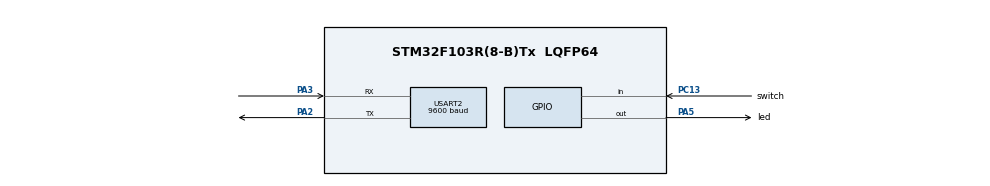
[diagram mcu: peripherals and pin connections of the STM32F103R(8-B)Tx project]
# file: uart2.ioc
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Mcu.Family=STM32F1
Mcu.Name=STM32F103R(8-B)Tx
Mcu.Package=LQFP64
NVIC.PriorityGroup=NVIC_PRIORITYGROUP_4
NVIC.USART2_IRQn=true\:0\:0\:false\:false\:true\:true
PA2.Mode=Asynchronous
PA2.Signal=USART2_TX
PA3.Mode=Asynchronous
PA3.Signal=USART2_RX
PA5.GPIO_Label=led
PA5.Signal=GPIO_Output
PC13-TAMPER-RTC.GPIO_Label=switch
PC13-TAMPER-RTC.Signal=GPIO_Input
ProjectManager.HeapSize=0x200
ProjectManager.StackSize=0x400
ProjectManager.TargetToolchain=MDK-ARM V5
RCC.APB1Freq_Value=8000000
RCC.APB2Freq_Value=8000000
USART2.BaudRate=9600
USART2.VirtualMode=VM_ASYNC
VP_SYS_VS_ND.Mode=No_Debug
board=uart2

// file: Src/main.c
#include "main.h"
#include "stm32f1xx_hal.h"

UART_HandleTypeDef huart2;

/* USER CODE BEGIN PV */
/* Private variables ---------------------------------------------------------*/

/* USER CODE END PV */

void SystemClock_Config(void);
static void MX_GPIO_Init(void);
static void MX_USART2_UART_Init(void);

/* USER CODE BEGIN PFP */
/* Private function prototypes -----------------------------------------------*/

/* USER CODE END PFP */

/* USER CODE BEGIN 0 */
int fputc(int ch, FILE *f)
{
	uint8_t temp[1] = {ch} ;

	HAL_UART_Transmit(&huart2, temp, 1, 50) ;

	return(ch) ;
}
/* USER CODE END 0 */

int main(void)
{

  /* MCU Configuration----------------------------------------------------------*/

  /* Reset of all peripherals, Initializes the Flash interface and the Systick. */
  HAL_Init();

  /* Configure the system clock */
  SystemClock_Config();

  /* Initialize all configured peripherals */
  MX_GPIO_Init();
  MX_USART2_UART_Init();
  /* USER CODE BEGIN 2 */
	HAL_StatusTypeDef RcvStat ;
	uint8_t bufftx[10] = "Hello!\n" ;
	uint8_t sign[10] = "succed\n" ;
	uint8_t UsartData[10] ;
	uint8_t pin_state ;
	HAL_UART_Transmit(&huart2, bufftx, 10, 100) ;
  /* USER CODE END 2 */

  /* Infinite loop */
  /* USER CODE BEGIN WHILE */
  while (1)
  {
	RcvStat = HAL_UART_Receive(&huart2, UsartData, 1, 100) ;

	if (RcvStat == HAL_OK)
		{
		if (UsartData[0] == 'a')
			{  // if serial input is 'a', led on
			HAL_GPIO_WritePin(led_GPIO_Port, led_Pin, GPIO_PIN_SET) ;
			}
		else if (UsartData[0] == 'b')
			{  // if serial input is 'a', led off
			HAL_GPIO_WritePin(led_GPIO_Port, led_Pin, GPIO_PIN_RESET) ;
			}

		HAL_UART_Transmit(&huart2, UsartData, 1, 100) ;
		}

	printf("TT\n") ;
	HAL_Delay(3000) ;

	pin_state = HAL_GPIO_ReadPin(switch_GPIO_Port, switch_Pin) ;

	if (!pin_state)
		{  // if b1 is low, send b_in
		HAL_UART_Transmit(&huart2, sign, 10, 100) ;
		}
  /* USER CODE END WHILE */

  }

}

void SystemClock_Config(void)
{

  RCC_OscInitTypeDef RCC_OscInitStruct;
  RCC_ClkInitTypeDef RCC_ClkInitStruct;

    /**Initializes the CPU, AHB and APB busses clocks
    */
  RCC_OscInitStruct.OscillatorType = RCC_OSCILLATORTYPE_HSI;
  RCC_OscInitStruct.HSIState = RCC_HSI_ON;
  RCC_OscInitStruct.HSICalibrationValue = 16;
  RCC_OscInitStruct.PLL.PLLState = RCC_PLL_NONE;
  if (HAL_RCC_OscConfig(&RCC_OscInitStruct) != HAL_OK)
  {
    _Error_Handler(__FILE__, __LINE__);
  }

    /**Initializes the CPU, AHB and APB busses clocks
    */
  RCC_ClkInitStruct.ClockType = RCC_CLOCKTYPE_HCLK|RCC_CLOCKTYPE_SYSCLK
                              |RCC_CLOCKTYPE_PCLK1|RCC_CLOCKTYPE_PCLK2;
  RCC_ClkInitStruct.SYSCLKSource = RCC_SYSCLKSOURCE_HSI;
  RCC_ClkInitStruct.AHBCLKDivider = RCC_SYSCLK_DIV1;
  RCC_ClkInitStruct.APB1CLKDivider = RCC_HCLK_DIV1;
  RCC_ClkInitStruct.APB2CLKDivider = RCC_HCLK_DIV1;

  if (HAL_RCC_ClockConfig(&RCC_ClkInitStruct, FLASH_LATENCY_0) != HAL_OK)
  {
    _Error_Handler(__FILE__, __LINE__);
  }

    /**Configure the Systick interrupt time
    */
  HAL_SYSTICK_Config(HAL_RCC_GetHCLKFreq()/1000);

    /**Configure the Systick
    */
  HAL_SYSTICK_CLKSourceConfig(SYSTICK_CLKSOURCE_HCLK);

  /* SysTick_IRQn interrupt configuration */
  HAL_NVIC_SetPriority(SysTick_IRQn, 0, 0);
}

/* USART2 init function */
static void MX_USART2_UART_Init(void)
{

  huart2.Instance = USART2;
  huart2.Init.BaudRate = 9600;
  huart2.Init.WordLength = UART_WORDLENGTH_8B;
  huart2.Init.StopBits = UART_STOPBITS_1;
  huart2.Init.Parity = UART_PARITY_NONE;
  huart2.Init.Mode = UART_MODE_TX_RX;
  huart2.Init.HwFlowCtl = UART_HWCONTROL_NONE;
  huart2.Init.OverSampling = UART_OVERSAMPLING_16;
  if (HAL_UART_Init(&huart2) != HAL_OK)
  {
    _Error_Handler(__FILE__, __LINE__);
  }

}
static void MX_GPIO_Init(void)
{

  GPIO_InitTypeDef GPIO_InitStruct;

  /* GPIO Ports Clock Enable */
  __HAL_RCC_GPIOC_CLK_ENABLE();
  __HAL_RCC_GPIOA_CLK_ENABLE();

  /*Configure GPIO pin Output Level */
  HAL_GPIO_WritePin(led_GPIO_Port, led_Pin, GPIO_PIN_RESET);

  /*Configure GPIO pin : switch_Pin */
  GPIO_InitStruct.Pin = switch_Pin;
  GPIO_InitStruct.Mode = GPIO_MODE_INPUT;
  GPIO_InitStruct.Pull = GPIO_NOPULL;
  HAL_GPIO_Init(switch_GPIO_Port, &GPIO_InitStruct);

  /*Configure GPIO pin : led_Pin */
  GPIO_InitStruct.Pin = led_Pin;
  GPIO_InitStruct.Mode = GPIO_MODE_OUTPUT_PP;
  GPIO_InitStruct.Speed = GPIO_SPEED_FREQ_LOW;
  HAL_GPIO_Init(led_GPIO_Port, &GPIO_InitStruct);

}

void _Error_Handler(char *file, int line)
{
  while(1)
  {
  }
}
